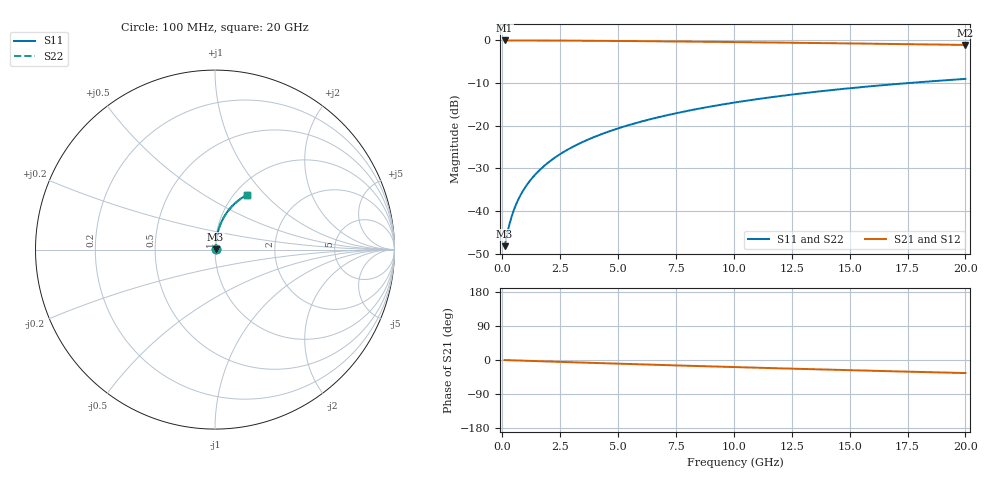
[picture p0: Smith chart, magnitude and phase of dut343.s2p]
! Touchstone file exported from HFSS 2024.1.0
!  File:  C:/UserFiles/LocalFiles/RDL_TSV_Batchsim/temp_RDL_top_343_1779607843.aedt
!  Generated:  03:33:03 PM May 24, 2026
!  Design:  RDL_top
!  Project:  temp_RDL_top_343_1779607843
!  Setup:  Setup1
!  Solution:  Sweep
! Variables:
!  dtsv = 10.80580581um
!  hbump = 3um
!  htsv = 85.91um
!  ldown = 100um
!  lrdl = 477.48um
!  p = 40
!  p1 = 41.15um
!  rhole = 1um
!  t = 450um
!  tdown = 3.915915916um
!  trdl = 3.38um
!  wdown = 15.38538539um
!  wrdl = 15.72um
# GHz S MA R 50.000000
! Terminal data exported
! Port[1] = Box2_T1
! Port[2] = Box2_T2
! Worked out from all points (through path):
!   200 points, 100 MHz to 20 GHz, reference 50 ohm
!   highest |S21| = -0.03 dB at 100 MHz (marker M1); lowest = -1.1 dB at 20 GHz (marker M2)
!   group delay of S21, straight-line fit = 4.78 ps
!   lowest |S11| = -48.2 dB at 100 MHz (marker M3), VSWR 1.01, Z = 50.3 + j0.2 ohm
!   |S11| at or under -10 dB: start of sweep to 17.56 GHz
!   |S22| runs from -48.2 to -9.0 dB; largest |S21 - S12| = 4e-15
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0.1  0.003874 30.8  0.9967 -0.2  0.9967 -0.2  0.003874 30.8
! Gamma 0 0 0 0
! Port Impedance 50 0 50 0
0.2  0.005214 49.0  0.9966 -0.4  0.9966 -0.4  0.005214 49.0
0.3  0.006833 58.8  0.9964 -0.6  0.9964 -0.6  0.006833 58.8
0.4  0.00854 64.6  0.9963 -0.8  0.9963 -0.8  0.00854 64.6
0.5  0.01028 68.4  0.9962 -1.0  0.9962 -1.0  0.01028 68.4
0.6  0.01203 71.1  0.996 -1.2  0.996 -1.2  0.01203 71.1
0.8  0.01556 74.7  0.9958 -1.6  0.9958 -1.6  0.01556 74.7
1.1  0.02093 77.8  0.9954 -2.2  0.9954 -2.2  0.02093 77.8
1.3  0.02453 79.1  0.9951 -2.6  0.9951 -2.6  0.02453 79.1
1.6  0.02998 80.4  0.9946 -3.2  0.9946 -3.2  0.02998 80.4
2.1  0.03911 81.5  0.9935 -4.2  0.9935 -4.2  0.03911 81.5
2.7  0.05015 82.0  0.992 -5.3  0.992 -5.3  0.05015 82.0
3.5  0.06495 82.0  0.9894 -6.9  0.9894 -6.9  0.06495 82.0
4.2  0.07797 81.7  0.9868 -8.2  0.9868 -8.2  0.07797 81.7
5  0.09291 81.0  0.9833 -9.7  0.9833 -9.7  0.09291 81.0
5.9  0.1098 80.2  0.9789 -11.4  0.9789 -11.4  0.1098 80.1
6.8  0.1267 79.1  0.9741 -13.0  0.9741 -13.0  0.1266 79.1
8.4  0.1566 77.0  0.9647 -15.9  0.9647 -15.9  0.1566 77.0
10.1  0.1881 74.6  0.9539 -18.8  0.9539 -18.8  0.188 74.6
13.4  0.2472 69.7  0.9315 -24.3  0.9315 -24.3  0.2471 69.6
16.7  0.3025 64.6  0.9078 -29.5  0.9078 -29.5  0.3024 64.6
20  0.3532 59.7  0.8835 -34.5  0.8835 -34.5  0.3531 59.7
